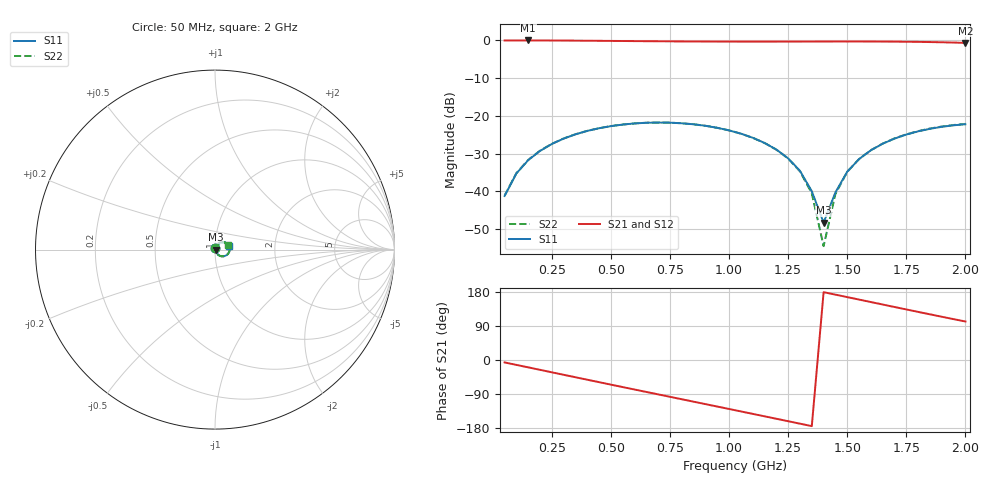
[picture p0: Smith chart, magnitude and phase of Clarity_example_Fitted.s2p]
!Generated from: C:\Users\peter4656563\Desktop\__Study\Test\43micro_FIT.BNP
! Port1::DQ
! Port2::DQ
!BroadbandSPICE Version: 24.1.0.10141.541387  000
!Computer Host Name: RD78ECE-EMCLAB
!TouchstoneFormatFlag = 1
! GNDNET GND
! NETSLIST
#	Hz	S	RI	R	50
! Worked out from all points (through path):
!   40 points, 50 MHz to 2 GHz, reference 50 ohm
!   highest |S21| = -0.01 dB at 150 MHz (marker M1); lowest = -0.7 dB at 2 GHz (marker M2)
!   group delay of S21, straight-line fit = 359 ps
!   lowest |S11| = -48.3 dB at 1.4 GHz (marker M3), VSWR 1.01, Z = 50.4 - j0.00808 ohm
!   |S11| at or under -10 dB: start of sweep to end of sweep
!   |S22| runs from -54.5 to -21.7 dB; largest |S21 - S12| = 0.00034
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5e7  0.00203 0.00847  0.9918 -0.112  0.9918 -0.1121  0.0021 0.00858
1e8  0.0045 0.0167  0.9733 -0.2232  0.9731 -0.2234  0.00467 0.0169
1.5e8  0.00873 0.0245  0.9419 -0.3322  0.9416 -0.3323  0.00898 0.0246
2.5e8  0.0219 0.0364  0.841 -0.5357  0.8407 -0.5357  0.0223 0.0365
4e8  0.0481 0.0411  0.6092 -0.7811  0.6089 -0.781  0.0484 0.041
5.5e8  0.0714 0.0285  0.3122 -0.9311  0.312 -0.9309  0.0716 0.0284
7e8  0.0817 0.00431  -0.0128 -0.9739  -0.013 -0.9737  0.0818 0.00417
8.5e8  0.0746 -0.0209  -0.3311 -0.9096  -0.3312 -0.9095  0.0746 -0.0211
9.5e8  0.0615 -0.0326  -0.5236 -0.8113  -0.5236 -0.8111  0.0614 -0.0329
1.05e9  0.0446 -0.0375  -0.6902 -0.6735  -0.6902 -0.6734  0.0442 -0.0378
1.15e9  0.0273 -0.0344  -0.823 -0.5024  -0.823 -0.5024  0.0266 -0.0348
1.25e9  0.0132 -0.0241  -0.9152 -0.3057  -0.9152 -0.3056  0.012 -0.0244
1.3e9  0.00823 -0.0168  -0.9445 -0.2006  -0.9444 -0.2005  0.00684 -0.0171
1.35e9  0.00508 -0.0087  -0.9617 -0.0926  -0.9617 -0.0925  0.0034 -0.0088
1.4e9  0.00386 -8.02e-05  -0.9666 0.017  -0.9666 0.017  0.00189 2.68e-05
1.45e9  0.00462 0.00856  -0.9589 0.1265  -0.9589 0.1266  0.00236 0.00895
1.5e9  0.00731 0.0168  -0.9386 0.2346  -0.9386 0.2346  0.00478 0.0175
1.55e9  0.0118 0.0241  -0.9058 0.3396  -0.9057 0.3397  0.00902 0.0253
1.6e9  0.0178 0.0302  -0.8608 0.44  -0.8608 0.4401  0.0148 0.0319
1.7e9  0.033 0.0377  -0.737 0.6206  -0.7369 0.6206  0.0299 0.0405
1.85e9  0.0578 0.035  -0.4831 0.8194  -0.4831 0.8194  0.0552 0.0398
2e9  0.0755 0.018  -0.1866 0.9087  -0.1866 0.9089  0.0745 0.0246
